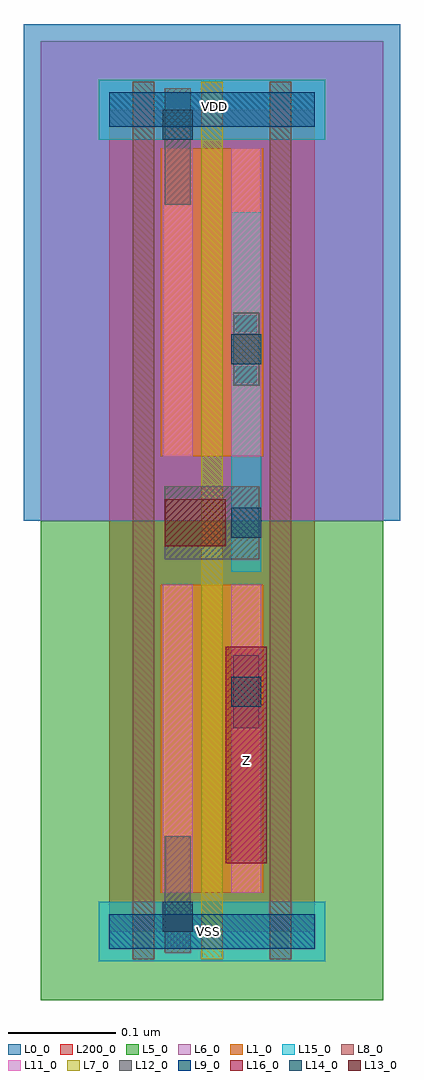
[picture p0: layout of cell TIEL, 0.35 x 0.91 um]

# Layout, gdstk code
import gdstk
lib = gdstk.Library(unit=1e-6, precision=1e-09)
def R(c, l, rs):  # rectangles x0, y0, x1, y1
    for r in rs: c.add(gdstk.rectangle(r[:2], r[2:], *l))
L0_0 = (0, 0)
L1_0 = (1, 0)
L5_0 = (5, 0)
L6_0 = (6, 0)
L7_0 = (7, 0)
L8_0 = (8, 0)
L9_0 = (9, 0)
L11_0 = (11, 0)
L12_0 = (12, 0)
L13_0 = (13, 0)
L14_0 = (14, 0)
L15_0 = (15, 0)
L16_0 = (16, 0)
L200_0 = (200, 0)

tiel = lib.new_cell('TIEL')
R(tiel, L0_0, [(-0.08,0.384,0.272,0.848)])
R(tiel, L1_0, [(0.048,0.036,0.144,0.324), (0.048,0.444,0.144,0.732)])
R(tiel, L5_0, [(-0.064,-0.064,0.256,0.384)])
R(tiel, L6_0, [(-0.064,0.384,0.256,0.832)])
R(tiel, L7_0, [(0.086,-0.026,0.106,0.794)])
R(tiel, L8_0, [(0.022,-0.026,0.042,0.794), (0.15,-0.026,0.17,0.794)])
R(tiel, L9_0, [(0,-0.016,0.192,0.016), (0,0.752,0.192,0.784)])
R(tiel, L11_0, [(0.05,0.036,0.078,0.324), (0.114,0.036,0.142,0.324), (0.05,0.444,0.078,0.732), (0.114,0.444,0.142,0.732)])
R(tiel, L12_0, [(0.052,-0.02,0.076,0.089), (0.116,0.19,0.14,0.258), (0.052,0.348,0.14,0.416), (0.116,0.51,0.14,0.578), (0.052,0.679,0.076,0.788)])
R(tiel, L13_0, [(0.052,0.36,0.109,0.404)])
R(tiel, L14_0, [(0.05,0,0.078,0.028), (0.114,0.21,0.142,0.238), (0.114,0.368,0.142,0.396), (0.114,0.53,0.142,0.558), (0.05,0.74,0.078,0.768)])
R(tiel, L15_0, [(-0.01,-0.028,0.202,0.028), (0.114,0.336,0.142,0.672), (-0.01,0.74,0.202,0.796)])
R(tiel, L16_0, [(0.109,0.064,0.147,0.266)])
R(tiel, L200_0, [(0,0,0.192,0.768)])
tiel.add(gdstk.Label('VSS', (0.093,0), layer=15, texttype=20))
tiel.add(gdstk.Label('VDD', (0.098,0.771), layer=15, texttype=20))
tiel.add(gdstk.Label('Z', (0.128,0.16), layer=16, texttype=20))

lib.write_gds('TIEL.gds')
